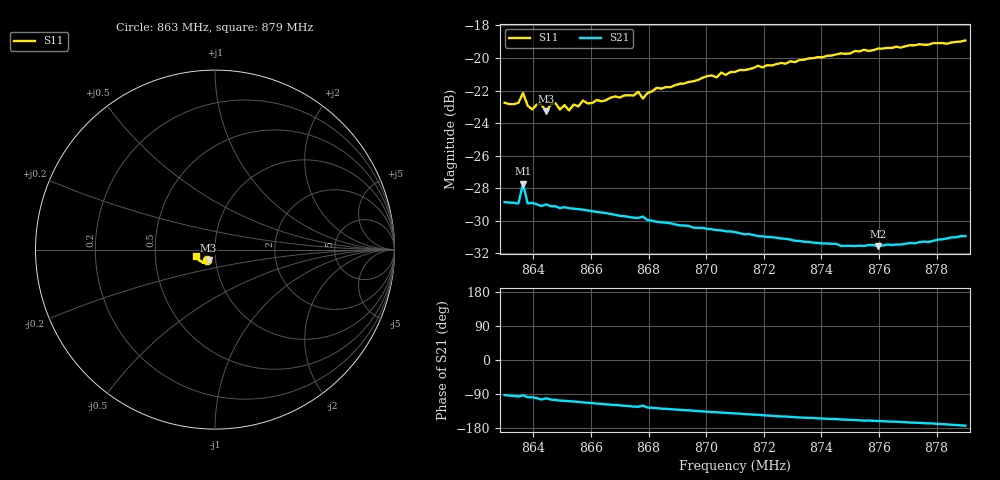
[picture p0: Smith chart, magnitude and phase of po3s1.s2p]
# HZ S RI R 50
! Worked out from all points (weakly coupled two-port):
!   101 points, 863 MHz to 879 MHz, reference 50 ohm
!   highest |S21| = -27.72 dB at 863.64 MHz (marker M1); lowest = -31.6 dB at 875.96 MHz (marker M2)
!   lowest |S11| = -23.3 dB at 864.44 MHz (marker M3), VSWR 1.15, Z = 46.3 - j5.46 ohm
!   |S11| at or under -10 dB: start of sweep to end of sweep
!   S12 and S22 are empty: the file has one direction only
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8.63e8  -0.0429 -0.0589  -0.00161 -0.036  0 0  0 0
8.6348e8  -0.0418 -0.0596  -0.00396 -0.0355  0 0  0 0
8.6364e8  -0.0315 -0.0714  -0.00218 -0.0411  0 0  0 0
8.638e8  -0.0401 -0.0591  -0.00512 -0.0353  0 0  0 0
8.6396e8  -0.037 -0.0588  -0.00513 -0.0355  0 0  0 0
8.6428e8  -0.0389 -0.0604  -0.0087 -0.034  0 0  0 0
8.6444e8  -0.0355 -0.0587  -0.00676 -0.0348  0 0  0 0
8.6476e8  -0.0419 -0.0594  -0.00937 -0.0337  0 0  0 0
8.6492e8  -0.0356 -0.0596  -0.0102 -0.033  0 0  0 0
8.6508e8  -0.0387 -0.0602  -0.0105 -0.0332  0 0  0 0
8.6524e8  -0.0347 -0.0596  -0.0111 -0.0327  0 0  0 0
8.6572e8  -0.0374 -0.0638  -0.0127 -0.0317  0 0  0 0
8.6604e8  -0.0368 -0.0627  -0.0136 -0.031  0 0  0 0
8.6764e8  -0.0403 -0.0677  -0.0177 -0.0269  0 0  0 0
8.678e8  -0.034 -0.0669  -0.0166 -0.028  0 0  0 0
8.6828e8  -0.0414 -0.0696  -0.0189 -0.0251  0 0  0 0
8.6844e8  -0.0419 -0.0687  -0.0194 -0.0245  0 0  0 0
8.71e8  -0.0547 -0.0722  -0.0226 -0.0184  0 0  0 0
8.7372e8  -0.0716 -0.0697  -0.0241 -0.0123  0 0  0 0
8.7596e8  -0.0886 -0.0596  -0.0249 -0.00865  0 0  0 0
8.7644e8  -0.0916 -0.0559  -0.0254 -0.00795  0 0  0 0
8.79e8  -0.1073 -0.0361  -0.0282 -0.0033  0 0  0 0
